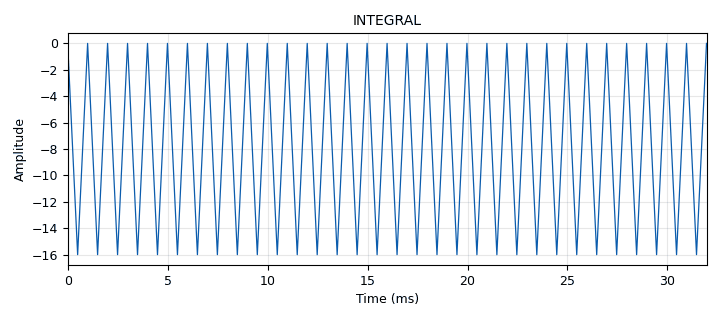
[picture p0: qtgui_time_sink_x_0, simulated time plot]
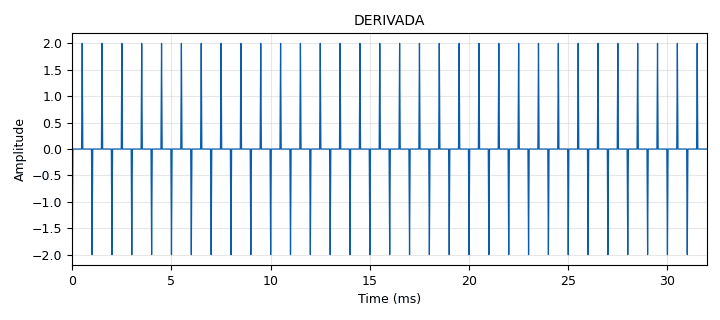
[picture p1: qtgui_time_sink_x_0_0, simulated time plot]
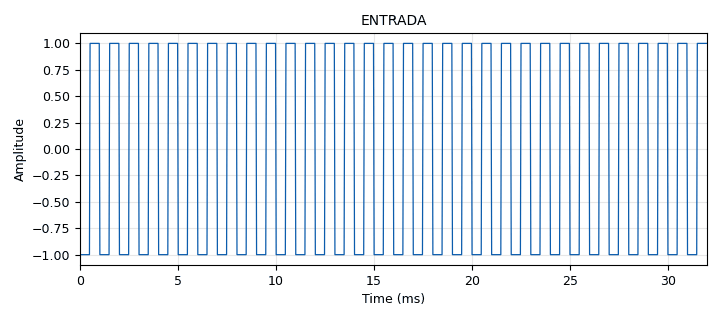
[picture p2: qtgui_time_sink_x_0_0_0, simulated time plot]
options:
  parameters:
    generate_options: qt_gui
    id: triceratops
    output_language: python
    title: Not titled yet
  states: {}

blocks:
- name: samp_rate
  id: variable
  parameters:
    value: '32000'
  states: {}
- name: analog_sig_source_x_0
  id: analog_sig_source_x
  parameters:
    amp: '2'
    freq: '1000'
    offset: '-1'
    phase: '0'
    samp_rate: samp_rate
    type: float
    waveform: analog.GR_SQR_WAVE
  states: {}
- name: analog_sig_source_x_0_0
  id: analog_sig_source_x
  parameters:
    amp: '2'
    freq: '1000'
    offset: '-1'
    phase: '0'
    samp_rate: samp_rate
    type: float
    waveform: analog.GR_SQR_WAVE
  states: {}
- name: analog_sig_source_x_0_0_0
  id: analog_sig_source_x
  parameters:
    amp: '2'
    freq: '1000'
    offset: '-1'
    phase: '0'
    samp_rate: samp_rate
    type: float
    waveform: analog.GR_SQR_WAVE
  states: {}
- name: blocks_throttle_0
  id: blocks_throttle
  parameters:
    samples_per_second: samp_rate
    type: float
  states: {}
- name: blocks_throttle_0_1
  id: blocks_throttle
  parameters:
    samples_per_second: samp_rate
    type: float
  states: {}
- name: blocks_throttle_0_1_0
  id: blocks_throttle
  parameters:
    samples_per_second: samp_rate
    type: float
  states: {}
- name: epy_block_0
  id: epy_block
  parameters:
    _source_code: "\"\"\"\nEmbedded Python Blocks:\n\nEach time this file is saved, GRC will instantiate the first class it finds\nto get ports and parameters of your block. The arguments to __init__  will\nbe the parameters. All of them are required to have default values!\n\"\"\"\n\nimport numpy as np\nfrom gnuradio import gr\n\nclass Acumulador(gr.sync_block):\n    def __init__(self):\n        gr.sync_block.__init__(\n            self,\n            name='Acumulador',  # Nombre que aparecerá en GRC\n            in_sig=[np.float32],\n            out_sig=[np.float32]\n        )\n        self.acumulado = 0  # Estado del acumulador inicializado a 0\n\n    def work(self, input_items, output_items):\n        x = input_items[0]  # Señal de entrada\n        y0 = output_items[0]  # Señal acumulada\n\n        # Calcula la suma acumulada para la entrada actual\n        y0[:] = np.cumsum(x) + self.acumulado\n\n        # Actualiza el acumulado con el último valor de la entrada\n        self.acumulado = y0[-1]\n\n        return len(y0)\n\n"
  states: {}
- name: epy_block_1
  id: epy_block
  parameters:
    _source_code: "\"\"\"\nEmbedded Python Blocks:\n\nEach time this file is saved, GRC will instantiate the first class it finds\nto get ports and parameters of your block. The arguments to __init__  will\nbe the parameters. All of them are required to have default values!\n\"\"\"\n\nimport numpy as np\nfrom gnuradio import gr\n\nclass Diferenciador(gr.sync_block):\n    def __init__(self):\n        gr.sync_block.__init__(\n            self,\n            name='Diferenciador',  # Nombre que aparecerá en GRC\n            in_sig=[np.float32],\n            out_sig=[np.float32]\n        )\n        self.acum_anterior = 0\n\n    def work(self, input_items, output_items):\n        x = input_items[0]  # Señal de entrada\n        y0 = output_items[0]  # Señal de salida (derivada)\n        N = len(x)\n        \n        # Calcular la derivada\n        y0[0] = x[0] - self.acum_anterior\n        for i in range(1, N):\n            y0[i] = x[i] - x[i - 1]\n\n        # Actualizar el valor acumulado\n        self.acum_anterior = x[N - 1]\n\n        return len(y0)\n\n"
  states: {}
- name: qtgui_time_sink_x_0
  id: qtgui_time_sink_x
  parameters:
    autoscale: 'True'
    name: INTEGRAL
    size: '1024'
    srate: samp_rate
    type: float
  states: {}
- name: qtgui_time_sink_x_0_0
  id: qtgui_time_sink_x
  parameters:
    autoscale: 'True'
    name: DERIVADA
    size: '1024'
    srate: samp_rate
    type: float
  states: {}
- name: qtgui_time_sink_x_0_0_0
  id: qtgui_time_sink_x
  parameters:
    autoscale: 'True'
    name: ENTRADA
    size: '1024'
    srate: samp_rate
    type: float
  states: {}

connections:
- [analog_sig_source_x_0, '0', blocks_throttle_0, '0']
- [analog_sig_source_x_0_0, '0', blocks_throttle_0_1, '0']
- [analog_sig_source_x_0_0_0, '0', blocks_throttle_0_1_0, '0']
- [blocks_throttle_0, '0', epy_block_0, '0']
- [blocks_throttle_0_1, '0', epy_block_1, '0']
- [blocks_throttle_0_1_0, '0', qtgui_time_sink_x_0_0_0, '0']
- [epy_block_0, '0', qtgui_time_sink_x_0, '0']
- [epy_block_1, '0', qtgui_time_sink_x_0_0, '0']

metadata:
  file_format: 1
  grc_version: 3.9.8.0
